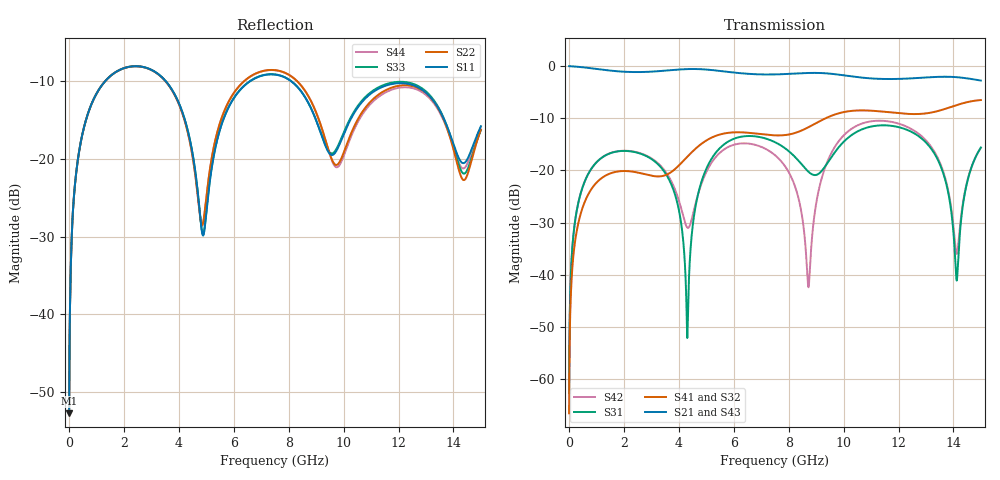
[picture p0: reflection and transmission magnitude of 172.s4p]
! Created with skrf 1.8.0 (http://scikit-rf.org).
# GHz S RI R 50.0
!freq ReS11 ImS11 ReS12 ImS12 ReS13 ImS13
! ReS14 ImS14
! ReS21 ImS21 ReS22 ImS22 ReS23 ImS23
! ReS24 ImS24
! ReS31 ImS31 ReS32 ImS32 ReS33 ImS33
! ReS34 ImS34
! ReS41 ImS41 ReS42 ImS42 ReS43 ImS43
! ReS44 ImS44
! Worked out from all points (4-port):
!   2499 points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, 5 MHz to 15 GHz, reference 50 ohm
!   strongest paths, dB at 5 MHz, 3.476 GHz, 7.19 GHz, 11.1 GHz, 15 GHz:
!     S21: 0.0, -0.9, -1.6, -2.4, -2.8
!     S43: 0.0, -0.9, -1.6, -2.4, -2.8
!     S41: -66.5, -21.0, -13.2, -8.6, -6.5
!     S32: -66.5, -21.0, -13.2, -8.7, -6.5
!     S31: -62.6, -20.3, -13.9, -11.5, -15.6
!     S42: -62.6, -20.0, -15.9, -10.5, -15.7
!   lowest |S11| = -52.7 dB at 5 MHz (marker M1), VSWR 1.00, Z = 50.2 + j0.141 ohm
!   |S11| at or under -10 dB: start of sweep to 1.322 GHz; 3.519 GHz to 6.607 GHz (3.088 GHz wide, 61 % of centre); 8.08 GHz to end of sweep
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0.005  0.00185 0.0014  0.9981 -0.00359  9.36e-05 0.000739  -9.09e-05 -0.000463
       0.9981 -0.00359  0.00185 0.0014  -9.09e-05 -0.000463  9.36e-05 0.000739
       9.36e-05 0.000739  -9.09e-05 -0.000463  0.00185 0.0014  0.9981 -0.00359
       -9.09e-05 -0.000463  9.36e-05 0.000739  0.9981 -0.00359  0.00185 0.0014
1.77574  0.3447 0.1269  0.3547 -0.8178  0.1491 0.0315  -0.0943 0.0257
         0.3547 -0.8178  0.3444 0.1272  -0.0942 0.0255  0.1501 0.0291
         0.1491 0.0315  -0.0942 0.0255  0.3448 0.1268  0.3547 -0.8178
         -0.0943 0.0257  0.1501 0.0291  0.3547 -0.8178  0.3443 0.1273
4.301792  0.081 -0.1358  -0.8433 -0.4054  0.00263 -0.000454  -0.0536 0.1236
          -0.8433 -0.4054  0.0829 -0.1301  -0.0551 0.123  -0.0252 -0.0134
          0.00263 -0.000454  -0.0551 0.123  0.081 -0.1355  -0.8434 -0.4055
          -0.0536 0.1236  -0.0252 -0.0134  -0.8434 -0.4055  0.0827 -0.1299
5.477282  0.0946 0.1157  -0.8449 0.3094  0.1164 0.1129  0.1033 0.1947
          -0.8449 0.3094  0.1093 0.1243  0.101 0.1955  0.0656 0.1308
          0.1164 0.1129  0.101 0.1955  0.0956 0.116  -0.8449 0.3093
          0.1033 0.1947  0.0656 0.1308  -0.8449 0.3093  0.1085 0.1245
8.722384  0.1899 -0.1254  0.5831 0.6309  -0.0603 -0.0762  0.1837 -0.1836
          0.5831 0.6309  0.1913 -0.1637  0.1877 -0.1794  -0.00643 -0.00406
          -0.0603 -0.0762  0.1877 -0.1794  0.1905 -0.1257  0.5827 0.6312
          0.1837 -0.1836  -0.00643 -0.00406  0.5827 0.6312  0.1911 -0.1642
9.747812  0.1117 0.019  0.8254 0.1102  -0.0424 0.1518  0.0344 -0.3465
          0.8254 0.1102  0.0902 -0.0147  0.0407 -0.3451  0.03 0.1765
          -0.0424 0.1518  0.0407 -0.3451  0.1149 0.0196  0.8253 0.1109
          0.0344 -0.3465  0.03 0.1765  0.8253 0.1109  0.0866 -0.017
15  0.1451 0.072  -0.7267 -0.00582  0.0927 0.1377  0.0472 0.4707
    -0.7267 -0.00582  0.1282 0.0856  0.0283 0.4733  0.0777 0.1453
    0.0927 0.1377  0.0283 0.4733  0.1339 0.0738  -0.727 -0.00788
    0.0472 0.4707  0.0777 0.1453  -0.727 -0.00788  0.1387 0.0812
